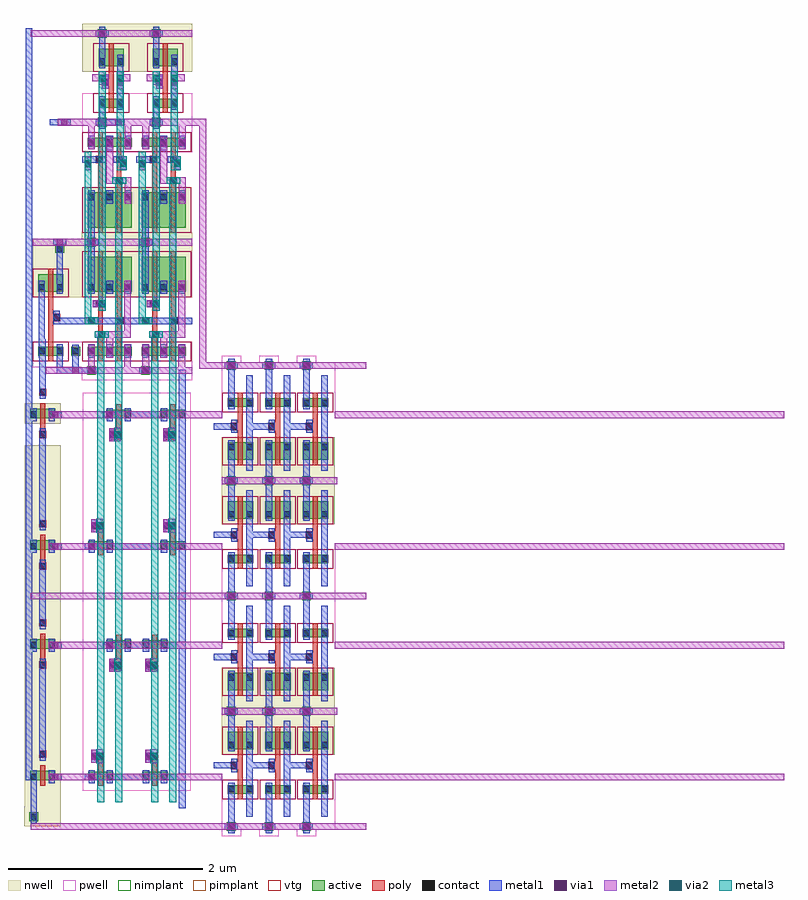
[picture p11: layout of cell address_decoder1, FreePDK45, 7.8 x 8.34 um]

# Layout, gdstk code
from math import pi, radians
import gdstk
lib = gdstk.Library(unit=1e-6, precision=5e-10)
def R(c, l, rs):  # rectangles x0, y0, x1, y1
    for r in rs: c.add(gdstk.rectangle(r[:2], r[2:], *l))
active = (1, 0)
pwell = (2, 0)
nwell = (3, 0)
nimplant = (4, 0)
pimplant = (5, 0)
vtg = (6, 0)
poly = (9, 0)
contact = (10, 0)
metal1 = (11, 0)
via1 = (12, 0)
metal2 = (13, 0)
via2 = (14, 0)
metal3 = (15, 0)

dcont_26 = lib.new_cell('dcont_26')
R(dcont_26, active, [(-0.0375,0.03,0.0375,0.105)])
R(dcont_26, contact, [(-0.0325,0.035,0.0325,0.1)])
R(dcont_26, metal1, [(-0.0325,0,0.0325,0.135)])

pmos_vtl_22 = lib.new_cell('pmos_vtl_22')
R(pmos_vtl_22, active, [(-0.105,0,0.155,0.1), (-0.105,0,-0.03,0.1), (-0.105,0,-0.03,0.1), (0.08,0,0.155,0.1), (0.08,0,0.155,0.1)])
R(pmos_vtl_22, nwell, [(-0.16,-0.055,0.21,0.155)])
R(pmos_vtl_22, pimplant, [(-0.105,0,0.155,0.1)])
R(pmos_vtl_22, poly, [(0,-0.055,0.05,0), (0,-0.055,0.05,0.155), (0,0.1,0.05,0.155)])
pmos_vtl_22.add(gdstk.Reference(dcont_26, (0.1175,-0.03)))
pmos_vtl_22.add(gdstk.Reference(dcont_26, (-0.0675,-0.03)))
pmos_vtl_22.add(gdstk.Label('l = 0.05', (0.06,0.05), layer=239, texttype=0))
pmos_vtl_22.add(gdstk.Label('w = 0.10', (0.025,0.165), layer=239, texttype=0))

pcont_2 = lib.new_cell('pcont_2')
R(pcont_2, poly, [(-0.0375,-0.0375,0.0375,0.0375)])
R(pcont_2, contact, [(-0.0325,-0.0325,0.0325,0.0325)])
R(pcont_2, metal1, [(-0.0325,-0.0675,0.0325,0.0675)])

nmos_vtl_23 = lib.new_cell('nmos_vtl_23')
R(nmos_vtl_23, active, [(-0.105,0,0.155,0.09), (-0.105,0,-0.03,0.09), (-0.105,0,-0.03,0.09), (0.08,0,0.155,0.09), (0.08,0,0.155,0.09)])
R(nmos_vtl_23, pwell, [(-0.16,-0.055,0.21,0.145)])
R(nmos_vtl_23, nimplant, [(-0.105,0,0.155,0.09)])
R(nmos_vtl_23, poly, [(0,-0.055,0.05,0), (0,-0.055,0.05,0.145), (0,0.09,0.05,0.145)])
nmos_vtl_23.add(gdstk.Reference(dcont_26, (0.1175,-0.03)))
nmos_vtl_23.add(gdstk.Reference(dcont_26, (-0.0675,-0.03)))
nmos_vtl_23.add(gdstk.Label('l = 0.05', (0.06,0.045), layer=239, texttype=0))
nmos_vtl_23.add(gdstk.Label('w = 0.09', (0.025,0.155), layer=239, texttype=0))

m2_m1_viac = lib.new_cell('M2_M1_viaC')
R(m2_m1_viac, metal1, [(-0.0325,-0.0675,0.0325,0.0675)])
R(m2_m1_viac, via1, [(-0.0325,-0.0325,0.0325,0.0325)])
R(m2_m1_viac, metal2, [(-0.035,-0.0675,0.035,0.0675)])

m3_m2_viab = lib.new_cell('M3_M2_viaB')
R(m3_m2_viab, metal2, [(-0.035,-0.07,0.035,0.07)])
R(m3_m2_viab, via2, [(-0.035,-0.035,0.035,0.035)])
R(m3_m2_viab, metal3, [(-0.035,-0.07,0.035,0.07)])

m2_m1_viab = lib.new_cell('M2_M1_viaB')
R(m2_m1_viab, metal1, [(-0.0675,-0.0325,0.0675,0.0325)])
R(m2_m1_viab, via1, [(-0.0325,-0.0325,0.0325,0.0325)])
R(m2_m1_viab, metal2, [(-0.0675,-0.035,0.0675,0.035)])

dcont_25 = lib.new_cell('dcont_25')
R(dcont_25, active, [(-0.0375,0.03,0.0375,0.105)])
R(dcont_25, contact, [(-0.0325,0.035,0.0325,0.1)])
R(dcont_25, metal1, [(-0.0325,0,0.0325,0.135)])

pmos_vtg_4 = lib.new_cell('pmos_vtg_4')
R(pmos_vtg_4, active, [(-0.105,0,0.155,0.18), (-0.105,0,-0.03,0.18), (0.08,0,0.155,0.18), (-0.105,0.01,-0.03,0.085), (0.08,0.01,0.155,0.085)])
R(pmos_vtg_4, nwell, [(-0.16,-0.055,0.21,0.235)])
R(pmos_vtg_4, pimplant, [(-0.105,0,0.155,0.18)])
R(pmos_vtg_4, vtg, [(-0.16,-0.055,0.21,0.235)])
R(pmos_vtg_4, poly, [(0,-0.055,0.05,0), (0,-0.055,0.05,0.235), (0,0.18,0.05,0.235)])
pmos_vtg_4.add(gdstk.Reference(dcont_25, (0.1175,-0.02)))
pmos_vtg_4.add(gdstk.Reference(dcont_25, (-0.0675,-0.02)))
pmos_vtg_4.add(gdstk.Label('l = 0.05', (0.06,0.09), layer=239, texttype=0))
pmos_vtg_4.add(gdstk.Label('w = 0.18', (0.025,0.245), layer=239, texttype=0))

nmos_vtg_5 = lib.new_cell('nmos_vtg_5')
R(nmos_vtg_5, active, [(-0.105,0,0.155,0.09), (-0.105,0,-0.03,0.09), (0.08,0,0.155,0.09), (-0.105,0.01,-0.03,0.085), (0.08,0.01,0.155,0.085)])
R(nmos_vtg_5, pwell, [(-0.16,-0.055,0.21,0.145)])
R(nmos_vtg_5, nimplant, [(-0.105,0,0.155,0.09)])
R(nmos_vtg_5, vtg, [(-0.16,-0.055,0.21,0.145)])
R(nmos_vtg_5, poly, [(0,-0.055,0.05,0), (0,-0.055,0.05,0.145), (0,0.09,0.05,0.145)])
nmos_vtg_5.add(gdstk.Reference(dcont_25, (0.1175,-0.02)))
nmos_vtg_5.add(gdstk.Reference(dcont_25, (-0.0675,-0.02)))
nmos_vtg_5.add(gdstk.Label('l = 0.05', (0.06,0.045), layer=239, texttype=0))
nmos_vtg_5.add(gdstk.Label('w = 0.09', (0.025,0.155), layer=239, texttype=0))

ntap_1 = lib.new_cell('NTAP_1')
R(ntap_1, active, [(-0.045,-0.045,0.045,0.045)])
R(ntap_1, nwell, [(-0.1,-0.1,0.1,0.1)])
R(ntap_1, nimplant, [(-0.045,-0.045,0.045,0.045)])
R(ntap_1, contact, [(-0.0325,-0.0325,0.0325,0.0325)])
R(ntap_1, metal1, [(-0.0325,-0.0675,0.0325,0.0675)])

ptap_0 = lib.new_cell('PTAP_0')
R(ptap_0, active, [(-0.045,-0.045,0.045,0.045)])
R(ptap_0, pwell, [(-0.1,-0.1,0.1,0.1)])
R(ptap_0, pimplant, [(-0.045,-0.045,0.045,0.045)])
R(ptap_0, contact, [(-0.0325,-0.0325,0.0325,0.0325)])
R(ptap_0, metal1, [(-0.0325,-0.0675,0.0325,0.0675)])

inv = lib.new_cell('inv')
R(inv, pwell, [(-0.005,-0.035,0.3925,0.48)])
R(inv, nwell, [(-0.005,0.735,0.385,1.225)])
R(inv, poly, [(0.1625,0.4675,0.2125,0.7375), (0.09,0.59,0.1625,0.66)])
R(inv, metal1, [(0.0625,0.005,0.1275,0.325), (0.2475,0.1,0.3125,1.0825), (-0.0875,0.595,0.1125,0.66), (0.0625,0.8925,0.1275,1.1175)])
R(inv, metal2, [(-0.235,-0.035,0.71,0.035), (-0.005,1.1475,0.4125,1.2175)])
inv.add(gdstk.Reference(pcont_2, (0.125,0.625)))
inv.add(gdstk.Reference(m2_m1_viab, (0.095,1.1825)))
inv.add(gdstk.Reference(m2_m1_viab, (0.095,0)))
inv.add(gdstk.Reference(pmos_vtg_4, (0.1625,0.79)))
inv.add(gdstk.Reference(nmos_vtg_5, (0.1625,0.335)))
inv.add(gdstk.Reference(ntap_1, (0.095,1.1825)))
inv.add(gdstk.Reference(ptap_0, (0.095,0)))

pmos_vtg_1 = lib.new_cell('pmos_vtg_1')
R(pmos_vtg_1, active, [(-0.105,0,0.155,0.36), (-0.105,0,-0.03,0.36), (0.08,0,0.155,0.36), (-0.105,0.01,-0.03,0.085), (0.08,0.01,0.155,0.085)])
R(pmos_vtg_1, nwell, [(-0.16,-0.055,0.21,0.415)])
R(pmos_vtg_1, pimplant, [(-0.105,0,0.155,0.36)])
R(pmos_vtg_1, vtg, [(-0.16,-0.055,0.21,0.415)])
R(pmos_vtg_1, poly, [(0,-0.055,0.05,0), (0,-0.055,0.05,0.415), (0,0.36,0.05,0.415)])
pmos_vtg_1.add(gdstk.Reference(dcont_25, (0.1175,-0.02)))
pmos_vtg_1.add(gdstk.Reference(dcont_25, (-0.0675,-0.02)))
pmos_vtg_1.add(gdstk.Label('l = 0.05', (0.06,0.18), layer=239, texttype=0))
pmos_vtg_1.add(gdstk.Label('w = 0.36', (0.025,0.425), layer=239, texttype=0))

m3_m2_viac = lib.new_cell('M3_M2_viaC')
R(m3_m2_viac, metal2, [(-0.07,-0.035,0.07,0.035)])
R(m3_m2_viac, via2, [(-0.035,-0.035,0.035,0.035)])
R(m3_m2_viac, metal3, [(-0.07,-0.035,0.07,0.035)])

nor_1 = lib.new_cell('nor_1')
R(nor_1, pwell, [(-0.005,-0.2375,0.575,0.16)])
R(nor_1, nwell, [(-0.005,0.615,0.575,1.28)])
R(nor_1, poly, [(0.1625,0.13,0.2125,0.205), (0.3525,0.13,0.4025,0.205), (0.3525,0.1875,0.4025,0.615), (0.1625,0.19,0.2125,0.615)])
R(nor_1, metal1, [(0,0.34,0.575,0.405), (0.0625,0.7725,0.1275,1.215)])
R(nor_1, metal2, [(0,-0.1725,0.575,-0.1025), (0.06,-0.1725,0.13,0.0025), (0.43,-0.1725,0.5,0.0025), (0.2475,0.09,0.3175,0.2675), (0.2275,0.1975,0.5,0.2675), (0.43,0.1975,0.5,0.7825), (0.0075,1.145,0.575,1.215)])
nor_1.add(gdstk.Reference(pmos_vtg_1, (0.3525,0.67)))
nor_1.add(gdstk.Reference(pmos_vtg_1, (0.1625,0.67)))
nor_1.add(gdstk.Reference(pcont_2, (0.39,0.3725), rotation=pi/2))
nor_1.add(gdstk.Reference(pcont_2, (0.175,0.5475), rotation=pi/2))
nor_1.add(gdstk.Reference(m2_m1_viab, (0.095,1.18)))
nor_1.add(gdstk.Reference(m2_m1_viab, (0.175,0.5475)))
nor_1.add(gdstk.Reference(m2_m1_viab, (0.095,-0.1375)))
nor_1.add(gdstk.Reference(m2_m1_viab, (0.2825,0.06), rotation=pi/2))
nor_1.add(gdstk.Reference(m2_m1_viac, (0.465,0.7175)))
nor_1.add(gdstk.Reference(m2_m1_viac, (0.465,0.06)))
nor_1.add(gdstk.Reference(m2_m1_viac, (0.095,0.06)))
nor_1.add(gdstk.Reference(m3_m2_viac, (0.2,0.2325)))
nor_1.add(gdstk.Reference(m3_m2_viac, (0.205,0.5475), rotation=pi/2))
nor_1.add(gdstk.Reference(nmos_vtg_5, (0.3525,0.015)))
nor_1.add(gdstk.Reference(nmos_vtg_5, (0.1625,0.015)))
nor_1.add(gdstk.Reference(ntap_1, (0.095,1.18)))
nor_1.add(gdstk.Reference(ptap_0, (0.095,-0.1375), rotation=pi/2))
nor_1.add(gdstk.Label('VDD', (0.2875,1.1875), layer=13, texttype=0))
nor_1.add(gdstk.Label('z', (0.475,0.4625), layer=13, texttype=0))
nor_1.add(gdstk.Label('VSS', (0.29,-0.14), layer=13, texttype=0))

nor_1_mx = lib.new_cell('nor_1_mx')
R(nor_1_mx, poly, [(0.1625,0.31,0.2125,0.385), (0.3525,0.325,0.4025,0.7), (0.1625,0.35,0.2125,0.7025), (0.1625,0.625,0.2125,0.7)])
R(nor_1_mx, metal1, [(0,0.385,0.1525,0.45), (0.0625,0.8575,0.1275,1.3)])
R(nor_1_mx, metal2, [(0,0,0.575,0.07), (0.06,0,0.13,0.185), (0.435,0,0.505,0.185), (0.2475,0.215,0.3175,0.6675), (0.2475,0.5975,0.505,0.6675), (0.435,0.5975,0.505,0.865), (0.0075,1.23,0.575,1.3)])
nor_1_mx.add(gdstk.Reference(pmos_vtg_1, (0.3525,0.755)))
nor_1_mx.add(gdstk.Reference(pmos_vtg_1, (0.1625,0.755)))
nor_1_mx.add(gdstk.Reference(pcont_2, (0.175,0.4175), rotation=pi/2))
nor_1_mx.add(gdstk.Reference(pcont_2, (0.3875,0.4175), rotation=pi/2))
nor_1_mx.add(gdstk.Reference(m2_m1_viab, (0.4225,0.4525), rotation=pi/2))
nor_1_mx.add(gdstk.Reference(m2_m1_viab, (0.095,1.265)))
nor_1_mx.add(gdstk.Reference(m2_m1_viab, (0.2825,0.2525), rotation=pi/2))
nor_1_mx.add(gdstk.Reference(m2_m1_viac, (0.47,0.8025)))
nor_1_mx.add(gdstk.Reference(m2_m1_viac, (0.095,0.2425)))
nor_1_mx.add(gdstk.Reference(m2_m1_viac, (0.47,0.2425)))
nor_1_mx.add(gdstk.Reference(m3_m2_viac, (0.4225,0.455), rotation=pi/2))
nor_1_mx.add(gdstk.Reference(m3_m2_viac, (0.38,0.6325)))
nor_1_mx.add(gdstk.Reference(nmos_vtg_5, (0.3525,0.195)))
nor_1_mx.add(gdstk.Reference(nmos_vtg_5, (0.1625,0.195)))
nor_1_mx.add(gdstk.Label('a0', (0.385,0.4175), layer=11, texttype=0))

inv_dec = lib.new_cell('inv_dec')
R(inv_dec, pwell, [(-0.1375,-0.055,0.2525,0.34)])
R(inv_dec, nwell, [(-0.1375,0.565,0.2525,1.055)])
R(inv_dec, poly, [(0.03,0.34,0.08,0.5675), (-0.0425,0.42,0.03,0.49)])
R(inv_dec, metal1, [(-0.5775,0.0125,-0.36,0.0775), (-0.07,0.05,-0.005,0.185), (0.115,0.305,0.18,0.6125), (-0.07,0.7225,-0.005,0.9475)])
R(inv_dec, metal2, [(-0.495,0.01,0.4725,0.08), (-0.1375,0.465,0.03,0.535), (0.1125,0.465,0.2525,0.535), (-0.1375,0.92,0.2525,0.99)])
inv_dec.add(gdstk.Reference(pcont_2, (-0.005,0.455)))
inv_dec.add(gdstk.Reference(m2_m1_viab, (-0.0375,0.045)))
inv_dec.add(gdstk.Reference(m2_m1_viab, (-0.0375,0.955)))
inv_dec.add(gdstk.Reference(m2_m1_viac, (0.1475,0.4525)))
inv_dec.add(gdstk.Reference(m2_m1_viac, (-0.005,0.455)))
inv_dec.add(gdstk.Reference(m2_m1_viac, (-0.4275,0.045), rotation=pi/2))
inv_dec.add(gdstk.Reference(pmos_vtg_4, (0.03,0.62)))
inv_dec.add(gdstk.Reference(nmos_vtg_5, (0.03,0.195)))
inv_dec.add(gdstk.Reference(ntap_1, (-0.0375,0.955)))
inv_dec.add(gdstk.Reference(ptap_0, (-0.0375,0.045)))

inv_nor = lib.new_cell('inv_nor')
R(inv_nor, pwell, [(0,0.1475,0.575,0.4375), (0,2.3775,0.575,2.9825)])
R(inv_nor, nwell, [(0,0.8925,0.565,2.0225), (0,3.2075,0.575,3.6975)])
R(inv_nor, metal2, [(-0.53,3.5625,0.575,3.6325)])
R(inv_nor, metal3, [(0.155,0.04,0.225,0.545), (0.34,0.04,0.41,2.125), (0.025,0.62,0.095,2.3825), (0.17,0.885,0.24,3.1575), (0.355,2.1975,0.425,3.1525)])
inv_nor.add(gdstk.Reference(nor_1, (0,0.2775)))
inv_nor.add(gdstk.Reference(nor_1_mx, (0,2.7225), x_reflection=True))
inv_nor.add(gdstk.Reference(m3_m2_viab, (0.205,3.14)))
inv_nor.add(gdstk.Reference(m3_m2_viab, (0.06,2.2625)))
inv_nor.add(gdstk.Reference(m3_m2_viab, (0.39,3.14)))
inv_nor.add(gdstk.Reference(m2_m1_viac, (0.06,2.26)))
inv_nor.add(gdstk.Reference(m2_m1_viab, (0.095,0.65)))
inv_nor.add(gdstk.Reference(m3_m2_viac, (0.095,0.65)))
inv_nor.add(gdstk.Reference(inv_dec, (0.2425,2.6425)))
inv_nor.add(gdstk.Label('dclk', (0.0475,0.6625), layer=15, texttype=0))

inv_clk = lib.new_cell('inv_clk')
R(inv_clk, pwell, [(0.0625,0.175,0.605,0.4375)])
R(inv_clk, nwell, [(0.0625,0.8925,0.605,1.4925)])
R(inv_clk, poly, [(0.3925,0.4325,0.4425,1.0925)])
R(inv_clk, metal1, [(0.13,0.105,0.195,0.35), (0.2925,0.105,0.3575,0.35), (0.0625,0.1075,0.3575,0.1725), (0.4775,0.4025,0.5425,1.03), (0.0625,0.6175,0.39,0.6825), (0.2925,1.045,0.3575,1.455)])
R(inv_clk, metal2, [(0.0625,0.105,0.4675,0.175), (0.0625,1.4225,0.605,1.4925)])
inv_clk.add(gdstk.Reference(pcont_2, (0.3575,0.685)))
inv_clk.add(gdstk.Reference(m2_m1_viab, (0.1625,0.14)))
inv_clk.add(gdstk.Reference(m2_m1_viab, (0.325,1.4575)))
inv_clk.add(gdstk.Reference(pmos_vtg_4, (0.3925,0.9475)))
inv_clk.add(gdstk.Reference(nmos_vtg_5, (0.3925,0.2925)))
inv_clk.add(gdstk.Reference(ntap_1, (0.325,1.3925)))
inv_clk.add(gdstk.Reference(ptap_0, (0.1625,0.3375)))

ntap = lib.new_cell('ntap')
R(ntap, metal1, [(0.0675,0.0375,0.1325,0.4025)])
ntap.add(gdstk.Reference(ntap_1, (0.1,0.1)))

address_decoder1 = lib.new_cell('address_decoder1')
R(address_decoder1, pwell, [(-1.43,0.365,-0.32,4.4475)])
R(address_decoder1, nwell, [(-2.025,0,-1.655,3.9125)])
R(address_decoder1, poly, [(-1.27,0.4725,-1.22,0.755), (-0.715,0.4725,-0.665,0.755), (-1.135,1.605,-1.035,1.705), (-0.765,1.605,-0.665,1.705), (-1.865,1.655,-1.815,1.7675), (-1.085,1.655,-1.035,1.8225), (-0.715,1.655,-0.665,1.8225), (-1.865,2.67,-1.815,2.7825), (-1.27,2.8375,-1.22,3.12), (-0.53,2.8375,-0.48,3.12), (-1.135,3.97,-1.035,4.07), (-0.58,3.97,-0.48,4.07), (-1.865,4.02,-1.815,4.1325), (-1.085,4.02,-1.035,4.1875), (-0.53,4.02,-0.48,4.1875)])
R(address_decoder1, metal1, [(-1.965,0.065,-1.9,0.4725), (-0.445,0.185,-0.375,4.6875), (-2.0125,0.4725,-1.9475,5.8225), (-1.16,0.4725,-0.76,0.5425), (-0.6,0.4725,-0.4,0.5425), (-1.875,0.74,-1.81,1.62), (-2.0125,1.8225,-1.9475,6.8375), (-0.97,1.8225,-0.77,1.8925), (-0.6,1.8225,-0.4,1.8925), (-1.875,2.09,-1.81,2.635), (-2.0125,2.8375,-1.9475,8.1875), (-1.16,2.8375,-0.6,2.9075), (-1.875,3.105,-1.81,3.985), (-2.0125,4.1875,-1.9475,4.2775), (-0.97,4.1875,-0.57,4.2575), (-1.875,4.455,-1.81,4.9975)])
R(address_decoder1, metal2, [(-1.965,-0.035,0,0.035), (-1.78,0.4725,0,0.5425), (1.155,0.4725,5.765,0.5425), (-1.78,1.8225,0,1.8925), (1.155,1.8225,5.765,1.8925), (-1.965,2.33,0,2.4), (-1.78,2.8375,0,2.9075), (1.155,2.8375,5.765,2.9075), (-1.78,4.1875,0,4.2575), (1.155,4.1875,5.765,4.2575), (-0.235,4.6975,-0.165,7.26)])
R(address_decoder1, metal3, [(-1.28,0.2475,-1.21,4.5825), (-1.095,0.2475,-1.025,4.5825), (-0.725,0.2475,-0.655,4.5825), (-0.54,0.2475,-0.47,4.5825)])
address_decoder1.add(gdstk.Reference(pmos_vtl_22, (-1.865,4.1875)))
address_decoder1.add(gdstk.Reference(pmos_vtl_22, (-1.865,2.8375)))
address_decoder1.add(gdstk.Reference(pmos_vtl_22, (-1.865,1.8225)))
address_decoder1.add(gdstk.Reference(pmos_vtl_22, (-1.865,0.4725)))
address_decoder1.add(gdstk.Reference(pcont_2, (-1.1225,4.02)))
address_decoder1.add(gdstk.Reference(pcont_2, (-0.5675,4.02)))
address_decoder1.add(gdstk.Reference(pcont_2, (-1.84,4.02)))
address_decoder1.add(gdstk.Reference(pcont_2, (-1.84,4.455)))
address_decoder1.add(gdstk.Reference(pcont_2, (-1.3075,3.085)))
address_decoder1.add(gdstk.Reference(pcont_2, (-0.5675,3.085)))
address_decoder1.add(gdstk.Reference(pcont_2, (-1.84,2.67)))
address_decoder1.add(gdstk.Reference(pcont_2, (-1.84,3.105)))
address_decoder1.add(gdstk.Reference(pcont_2, (-1.1225,1.655)))
address_decoder1.add(gdstk.Reference(pcont_2, (-0.7525,1.655)))
address_decoder1.add(gdstk.Reference(pcont_2, (-1.84,1.655)))
address_decoder1.add(gdstk.Reference(pcont_2, (-1.84,2.09)))
address_decoder1.add(gdstk.Reference(pcont_2, (-1.3075,0.72)))
address_decoder1.add(gdstk.Reference(pcont_2, (-0.7525,0.72)))
address_decoder1.add(gdstk.Reference(pcont_2, (-1.84,0.74)))
address_decoder1.add(gdstk.Reference(nmos_vtl_23, (-1.085,4.1875)))
address_decoder1.add(gdstk.Reference(nmos_vtl_23, (-0.53,4.1875)))
address_decoder1.add(gdstk.Reference(nmos_vtl_23, (-1.27,2.8375)))
address_decoder1.add(gdstk.Reference(nmos_vtl_23, (-0.53,2.8375)))
address_decoder1.add(gdstk.Reference(nmos_vtl_23, (-1.085,1.8225)))
address_decoder1.add(gdstk.Reference(nmos_vtl_23, (-0.715,1.8225)))
address_decoder1.add(gdstk.Reference(nmos_vtl_23, (-1.27,0.4725)))
address_decoder1.add(gdstk.Reference(nmos_vtl_23, (-0.715,0.4725)))
address_decoder1.add(gdstk.Reference(m2_m1_viac, (-1.7125,4.2225), rotation=pi/2))
address_decoder1.add(gdstk.Reference(m2_m1_viac, (-1.155,4.2225), rotation=pi/2))
address_decoder1.add(gdstk.Reference(m2_m1_viac, (-1.1225,4.02)))
address_decoder1.add(gdstk.Reference(m2_m1_viac, (-0.5675,4.02)))
address_decoder1.add(gdstk.Reference(m2_m1_viac, (-1.7125,2.8725), rotation=pi/2))
address_decoder1.add(gdstk.Reference(m2_m1_viac, (-1.34,2.8725), rotation=pi/2))
address_decoder1.add(gdstk.Reference(m2_m1_viac, (-1.3075,3.085)))
address_decoder1.add(gdstk.Reference(m2_m1_viac, (-0.5675,3.085)))
address_decoder1.add(gdstk.Reference(m2_m1_viac, (-1.7125,1.8575), rotation=pi/2))
address_decoder1.add(gdstk.Reference(m2_m1_viac, (-1.155,1.8575), rotation=pi/2))
address_decoder1.add(gdstk.Reference(m2_m1_viac, (-1.1225,1.655)))
address_decoder1.add(gdstk.Reference(m2_m1_viac, (-0.7525,1.655)))
address_decoder1.add(gdstk.Reference(m2_m1_viac, (-1.7125,0.5075), rotation=pi/2))
address_decoder1.add(gdstk.Reference(m2_m1_viac, (-1.34,0.5075), rotation=pi/2))
address_decoder1.add(gdstk.Reference(m2_m1_viac, (-1.3075,0.72)))
address_decoder1.add(gdstk.Reference(m2_m1_viac, (-0.7525,0.72)))
address_decoder1.add(gdstk.Reference(m3_m2_viab, (-1.0725,4.02)))
address_decoder1.add(gdstk.Reference(m3_m2_viab, (-0.5175,4.02)))
address_decoder1.add(gdstk.Reference(m3_m2_viab, (-1.2575,3.085)))
address_decoder1.add(gdstk.Reference(m3_m2_viab, (-0.5175,3.085)))
address_decoder1.add(gdstk.Reference(m3_m2_viab, (-1.0725,1.655)))
address_decoder1.add(gdstk.Reference(m3_m2_viab, (-0.7025,1.655)))
address_decoder1.add(gdstk.Reference(m3_m2_viab, (-1.2575,0.72)))
address_decoder1.add(gdstk.Reference(m3_m2_viab, (-0.7025,0.72)))
address_decoder1.add(gdstk.Reference(inv, (0.77,4.73), x_reflection=True))
address_decoder1.add(gdstk.Reference(inv, (0.385,4.73), x_reflection=True))
address_decoder1.add(gdstk.Reference(inv, (0,4.73), x_reflection=True))
address_decoder1.add(gdstk.Reference(inv, (0.77,2.365)))
address_decoder1.add(gdstk.Reference(inv, (0.385,2.365)))
address_decoder1.add(gdstk.Reference(inv, (0,2.365)))
address_decoder1.add(gdstk.Reference(inv, (0.77,2.365), x_reflection=True))
address_decoder1.add(gdstk.Reference(inv, (0.385,2.365), x_reflection=True))
address_decoder1.add(gdstk.Reference(inv, (0,2.365), x_reflection=True))
address_decoder1.add(gdstk.Reference(inv, (0.77,0)))
address_decoder1.add(gdstk.Reference(inv, (0.385,0)))
address_decoder1.add(gdstk.Reference(inv, (0,0)))
address_decoder1.add(gdstk.Reference(inv_nor, (-1.435,4.5375)))
address_decoder1.add(gdstk.Reference(inv_nor, (-0.88,4.5375)))
address_decoder1.add(gdstk.Reference(inv_clk, (-1.34,4.5375), rotation=pi, x_reflection=True))
address_decoder1.add(gdstk.Reference(ntap, (-2.0325,0)))

lib.write_gds('address_decoder1.gds')
